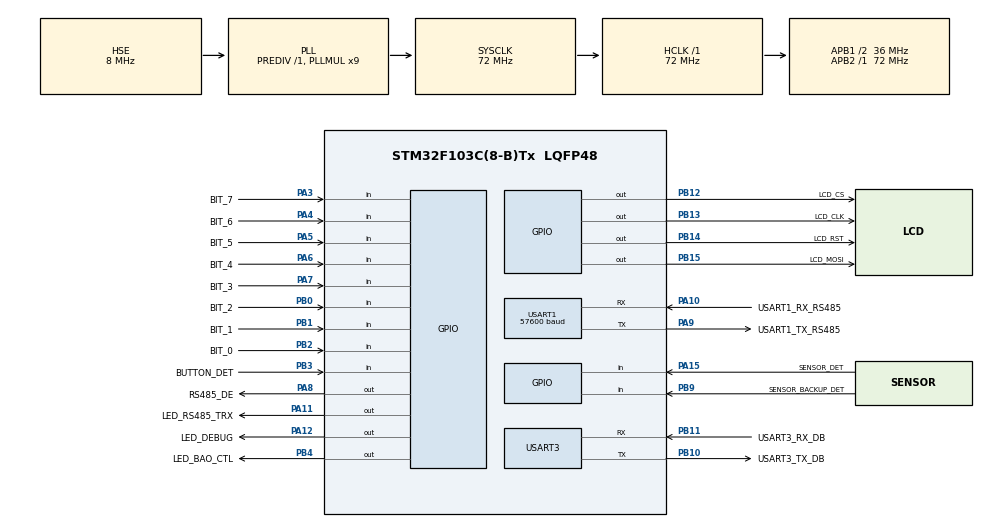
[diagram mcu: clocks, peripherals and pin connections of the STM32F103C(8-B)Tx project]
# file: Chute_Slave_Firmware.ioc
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Dma.Request0=USART3_TX
Dma.USART3_TX.0.Direction=DMA_MEMORY_TO_PERIPH
Dma.USART3_TX.0.Instance=DMA1_Channel2
Dma.USART3_TX.0.MemDataAlignment=DMA_MDATAALIGN_BYTE
Dma.USART3_TX.0.MemInc=DMA_MINC_ENABLE
Dma.USART3_TX.0.Mode=DMA_NORMAL
Dma.USART3_TX.0.PeriphDataAlignment=DMA_PDATAALIGN_BYTE
Dma.USART3_TX.0.PeriphInc=DMA_PINC_DISABLE
Dma.USART3_TX.0.Priority=DMA_PRIORITY_LOW
Mcu.Family=STM32F1
Mcu.Name=STM32F103C(8-B)Tx
Mcu.Package=LQFP48
NVIC.DMA1_Channel2_IRQn=true\:0\:0\:false\:false\:true\:false\:true\:true
NVIC.PriorityGroup=NVIC_PRIORITYGROUP_4
NVIC.TIM1_UP_IRQn=true\:0\:0\:false\:false\:true\:true\:true\:true
NVIC.TIM2_IRQn=true\:0\:0\:false\:false\:true\:true\:true\:true
NVIC.USART1_IRQn=true\:0\:0\:false\:false\:true\:true\:true\:true
NVIC.USART3_IRQn=true\:0\:0\:false\:false\:true\:true\:true\:true
PA10.GPIO_Label=USART1_RX_RS485
PA10.Mode=Asynchronous
PA10.Signal=USART1_RX
PA11.GPIO_Label=LED_RS485_TRX
PA11.GPIO_Speed=GPIO_SPEED_FREQ_MEDIUM
PA11.Signal=GPIO_Output
PA12.GPIO_Label=LED_DEBUG
PA12.Signal=GPIO_Output
PA13.Mode=Serial_Wire
PA13.Signal=SYS_JTMS-SWDIO
PA14.Mode=Serial_Wire
PA14.Signal=SYS_JTCK-SWCLK
PA15.GPIO_Label=SENSOR_DET
PA15.Signal=GPIO_Input
PA3.GPIO_Label=BIT_7
PA3.GPIO_PuPd=GPIO_PULLUP
PA3.Signal=GPIO_Input
PA4.GPIO_Label=BIT_6
PA4.GPIO_PuPd=GPIO_PULLUP
PA4.Signal=GPIO_Input
PA5.GPIO_Label=BIT_5
PA5.GPIO_PuPd=GPIO_PULLUP
PA5.Signal=GPIO_Input
PA6.GPIO_Label=BIT_4
PA6.GPIO_PuPd=GPIO_PULLUP
PA6.Signal=GPIO_Input
PA7.GPIO_Label=BIT_3
PA7.GPIO_PuPd=GPIO_PULLUP
PA7.Signal=GPIO_Input
PA8.GPIO_Label=RS485_DE
PA8.GPIO_Speed=GPIO_SPEED_FREQ_HIGH
PA8.Signal=GPIO_Output
PA9.GPIO_Label=USART1_TX_RS485
PA9.Mode=Asynchronous
PA9.Signal=USART1_TX
PB0.GPIO_Label=BIT_2
PB0.GPIO_PuPd=GPIO_PULLUP
PB0.Signal=GPIO_Input
PB1.GPIO_Label=BIT_1
PB1.GPIO_PuPd=GPIO_PULLUP
PB1.Signal=GPIO_Input
PB10.GPIO_Label=USART3_TX_DB
PB10.Mode=Asynchronous
PB10.Signal=USART3_TX
PB11.GPIO_Label=USART3_RX_DB
PB11.Mode=Asynchronous
PB11.Signal=USART3_RX
PB12.GPIO_Label=LCD_CS
PB12.GPIO_Speed=GPIO_SPEED_FREQ_LOW
PB12.Signal=GPIO_Output
PB13.GPIO_Label=LCD_CLK
PB13.GPIO_Speed=GPIO_SPEED_FREQ_LOW
PB13.Signal=GPIO_Output
PB14.GPIO_Label=LCD_RST
PB14.GPIO_PuPd=GPIO_PULLUP
PB14.GPIO_Speed=GPIO_SPEED_FREQ_LOW
PB14.Signal=GPIO_Output
PB15.GPIO_Label=LCD_MOSI
PB15.GPIO_Speed=GPIO_SPEED_FREQ_LOW
PB15.Signal=GPIO_Output
PB2.GPIO_Label=BIT_0
PB2.GPIO_PuPd=GPIO_PULLUP
PB2.Signal=GPIO_Input
PB3.GPIO_Label=BUTTON_DET
PB3.Signal=GPIO_Input
PB4.GPIO_Label=LED_BAO_CTL
PB4.Signal=GPIO_Output
PB9.GPIO_Label=SENSOR_BACKUP_DET
PB9.Signal=GPIO_Input
PD0-OSC_IN.Mode=HSE-External-Oscillator
PD0-OSC_IN.Signal=RCC_OSC_IN
PD1-OSC_OUT.Mode=HSE-External-Oscillator
PD1-OSC_OUT.Signal=RCC_OSC_OUT
ProjectManager.HeapSize=0x200
ProjectManager.StackSize=0x400
ProjectManager.TargetToolchain=MDK-ARM V5.32
RCC.AHBFreq_Value=72000000
RCC.APB1CLKDivider=RCC_HCLK_DIV2
RCC.APB1Freq_Value=36000000
RCC.APB1TimFreq_Value=72000000
RCC.APB2Freq_Value=72000000
RCC.APB2TimFreq_Value=72000000
RCC.HCLKFreq_Value=72000000
RCC.PLLMUL=RCC_PLL_MUL9
RCC.PLLSourceVirtual=RCC_PLLSOURCE_HSE
RCC.SYSCLKFreq_VALUE=72000000
RCC.SYSCLKSource=RCC_SYSCLKSOURCE_PLLCLK
RCC.USBFreq_Value=72000000
TIM1.AutoReloadPreload=TIM_AUTORELOAD_PRELOAD_ENABLE
TIM1.Period=65535
TIM1.Prescaler=71
TIM2.AutoReloadPreload=TIM_AUTORELOAD_PRELOAD_ENABLE
TIM2.Period=999
TIM2.Prescaler=71
USART1.BaudRate=57600
USART1.VirtualMode=VM_ASYNC
USART3.VirtualMode=VM_ASYNC
VP_TIM1_VS_ClockSourceINT.Mode=Internal
VP_TIM2_VS_ClockSourceINT.Mode=Internal
board=custom

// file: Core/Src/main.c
/* USER CODE BEGIN Header */
/**
  ******************************************************************************
  * @file           : main.c
  * @brief          : Main program body
  ******************************************************************************
  * @attention
  *
  * Copyright (c) 2024 STMicroelectronics.
  * All rights reserved.
  *
  * This software is licensed under terms that can be found in the LICENSE file
  * in the root directory of this software component.
  * If no LICENSE file comes with this software, it is provided AS-IS.
  *
  ******************************************************************************
  */
/* USER CODE END Header */
#include "main.h"

/* USER CODE BEGIN Includes */

	#include <string.h>
	#include <stdio.h>
	#include <stdlib.h>
	#include <stdbool.h>

	#include "st7920.h"
	#include "rs485.h"
	#include "user.h"
	#include "flash_address.h"

/* USER CODE END Includes */

TIM_HandleTypeDef htim1;
TIM_HandleTypeDef htim2;

UART_HandleTypeDef huart1;
UART_HandleTypeDef huart3;
DMA_HandleTypeDef hdma_usart3_tx;

/* USER CODE BEGIN PV */

	uint32_t tick_debug = 0;

/* USER CODE END PV */

void SystemClock_Config(void);
static void MX_GPIO_Init(void);
static void MX_DMA_Init(void);
static void MX_TIM1_Init(void);
static void MX_USART1_UART_Init(void);
static void MX_USART3_UART_Init(void);
static void MX_TIM2_Init(void);

int main(void)
{

  /* MCU Configuration--------------------------------------------------------*/

  /* Reset of all peripherals, Initializes the Flash interface and the Systick. */
  HAL_Init();

  /* Configure the system clock */
  SystemClock_Config();

  /* Initialize all configured peripherals */
  MX_GPIO_Init();
  MX_DMA_Init();
  MX_TIM1_Init();
  MX_USART1_UART_Init();
  MX_USART3_UART_Init();
  MX_TIM2_Init();
  /* USER CODE BEGIN 2 */

		HAL_GPIO_WritePin(LED_DEBUG_GPIO_Port, LED_DEBUG_Pin, GPIO_PIN_SET);
		OFF_DEN_BAO();

		RS485_Init(&vRS485, &huart1);

		/*INit LCD Display*/
		HAL_TIM_Base_Start_IT(&htim1);
		ST7920_Init();

		Calib__mode();

//		ST7920_GraphicMode(1);
//		ST7920_DrawBitmap(viettel_post);
//
//		HAL_Delay(1000);

		ST7920_GraphicMode(0);
		HAL_Delay(1);
		ST7920_Clear();

		/*Get infomation of chute in flash memory*/
		//Flash_Erase(ADDRES_DATA_STORAGE);
		Load_Infor_Chute_Func();

		sprintf(ROW0, "TT KHAI THAC 1");
		ST7920_SendString(0, 0, ROW0);
		sprintf(ROW1, "MACH MANG");
		ST7920_SendString(1, 0, ROW1);
		sprintf(ROW2, "So Thu Tu: %d", vRS485.Sequence_number);
		ST7920_SendString(2, 0, ROW2);
		sprintf(ROW3, "                ");
		ST7920_SendString(3, 0, ROW3);

		Calib__mode();

		HAL_TIM_Base_Start_IT(&htim2);

		HAL_GPIO_WritePin(LED_DEBUG_GPIO_Port, LED_DEBUG_Pin, GPIO_PIN_RESET);
		HAL_GPIO_WritePin(LED_DEBUG_GPIO_Port, LED_DEBUG_Pin, GPIO_PIN_RESET);
		HAL_GPIO_WritePin(LCD_RST_GPIO_Port, LCD_RST_Pin, GPIO_PIN_SET);

  /* USER CODE END 2 */

  /* Infinite loop */
  while (1)
  {

    /* USER CODE BEGIN 3 */

	/*----------------------------------------------------*/
		tick_debug++;

	/*----------------------------------------------------*/
		//Check_Connection_Master();
		HAL_GPIO_WritePin(LCD_RST_GPIO_Port, LCD_RST_Pin, GPIO_PIN_SET);		// Update 18,19 thang 2
	/*----------------------------------------------------*/
		Process_Chute();

	/*----------------------------------------------------*/
		RS485_Transmit(&vRS485);

	/*----------------------------------------------------*/
		Display_LCD(vCycleLCD);

	/*----------------------------------------------------*/
		BlinkLed_Debug();

	/*----------------------------------------------------*/
  }
  /* USER CODE END 3 */
}

void SystemClock_Config(void)
{
  RCC_OscInitTypeDef RCC_OscInitStruct = {0};
  RCC_ClkInitTypeDef RCC_ClkInitStruct = {0};

  /** Initializes the RCC Oscillators according to the specified parameters
  * in the RCC_OscInitTypeDef structure.
  */
  RCC_OscInitStruct.OscillatorType = RCC_OSCILLATORTYPE_HSE;
  RCC_OscInitStruct.HSEState = RCC_HSE_ON;
  RCC_OscInitStruct.HSEPredivValue = RCC_HSE_PREDIV_DIV1;
  RCC_OscInitStruct.HSIState = RCC_HSI_ON;
  RCC_OscInitStruct.PLL.PLLState = RCC_PLL_ON;
  RCC_OscInitStruct.PLL.PLLSource = RCC_PLLSOURCE_HSE;
  RCC_OscInitStruct.PLL.PLLMUL = RCC_PLL_MUL9;
  if (HAL_RCC_OscConfig(&RCC_OscInitStruct) != HAL_OK)
  {
    Error_Handler();
  }

  /** Initializes the CPU, AHB and APB buses clocks
  */
  RCC_ClkInitStruct.ClockType = RCC_CLOCKTYPE_HCLK|RCC_CLOCKTYPE_SYSCLK
                              |RCC_CLOCKTYPE_PCLK1|RCC_CLOCKTYPE_PCLK2;
  RCC_ClkInitStruct.SYSCLKSource = RCC_SYSCLKSOURCE_PLLCLK;
  RCC_ClkInitStruct.AHBCLKDivider = RCC_SYSCLK_DIV1;
  RCC_ClkInitStruct.APB1CLKDivider = RCC_HCLK_DIV2;
  RCC_ClkInitStruct.APB2CLKDivider = RCC_HCLK_DIV1;

  if (HAL_RCC_ClockConfig(&RCC_ClkInitStruct, FLASH_LATENCY_2) != HAL_OK)
  {
    Error_Handler();
  }
}

static void MX_TIM1_Init(void)
{

  TIM_ClockConfigTypeDef sClockSourceConfig = {0};
  TIM_MasterConfigTypeDef sMasterConfig = {0};

  htim1.Instance = TIM1;
  htim1.Init.Prescaler = 71;
  htim1.Init.CounterMode = TIM_COUNTERMODE_UP;
  htim1.Init.Period = 65535;
  htim1.Init.ClockDivision = TIM_CLOCKDIVISION_DIV1;
  htim1.Init.RepetitionCounter = 0;
  htim1.Init.AutoReloadPreload = TIM_AUTORELOAD_PRELOAD_ENABLE;
  if (HAL_TIM_Base_Init(&htim1) != HAL_OK)
  {
    Error_Handler();
  }
  sClockSourceConfig.ClockSource = TIM_CLOCKSOURCE_INTERNAL;
  if (HAL_TIM_ConfigClockSource(&htim1, &sClockSourceConfig) != HAL_OK)
  {
    Error_Handler();
  }
  sMasterConfig.MasterOutputTrigger = TIM_TRGO_RESET;
  sMasterConfig.MasterSlaveMode = TIM_MASTERSLAVEMODE_DISABLE;
  if (HAL_TIMEx_MasterConfigSynchronization(&htim1, &sMasterConfig) != HAL_OK)
  {
    Error_Handler();
  }

}

static void MX_TIM2_Init(void)
{

  TIM_ClockConfigTypeDef sClockSourceConfig = {0};
  TIM_MasterConfigTypeDef sMasterConfig = {0};

  htim2.Instance = TIM2;
  htim2.Init.Prescaler = 71;
  htim2.Init.CounterMode = TIM_COUNTERMODE_UP;
  htim2.Init.Period = 999;
  htim2.Init.ClockDivision = TIM_CLOCKDIVISION_DIV1;
  htim2.Init.AutoReloadPreload = TIM_AUTORELOAD_PRELOAD_ENABLE;
  if (HAL_TIM_Base_Init(&htim2) != HAL_OK)
  {
    Error_Handler();
  }
  sClockSourceConfig.ClockSource = TIM_CLOCKSOURCE_INTERNAL;
  if (HAL_TIM_ConfigClockSource(&htim2, &sClockSourceConfig) != HAL_OK)
  {
    Error_Handler();
  }
  sMasterConfig.MasterOutputTrigger = TIM_TRGO_RESET;
  sMasterConfig.MasterSlaveMode = TIM_MASTERSLAVEMODE_DISABLE;
  if (HAL_TIMEx_MasterConfigSynchronization(&htim2, &sMasterConfig) != HAL_OK)
  {
    Error_Handler();
  }

}

static void MX_USART1_UART_Init(void)
{

  huart1.Instance = USART1;
  huart1.Init.BaudRate = 57600;
  huart1.Init.WordLength = UART_WORDLENGTH_8B;
  huart1.Init.StopBits = UART_STOPBITS_1;
  huart1.Init.Parity = UART_PARITY_NONE;
  huart1.Init.Mode = UART_MODE_TX_RX;
  huart1.Init.HwFlowCtl = UART_HWCONTROL_NONE;
  huart1.Init.OverSampling = UART_OVERSAMPLING_16;
  if (HAL_UART_Init(&huart1) != HAL_OK)
  {
    Error_Handler();
  }

}

static void MX_USART3_UART_Init(void)
{

  huart3.Instance = USART3;
  huart3.Init.BaudRate = 115200;
  huart3.Init.WordLength = UART_WORDLENGTH_8B;
  huart3.Init.StopBits = UART_STOPBITS_1;
  huart3.Init.Parity = UART_PARITY_NONE;
  huart3.Init.Mode = UART_MODE_TX_RX;
  huart3.Init.HwFlowCtl = UART_HWCONTROL_NONE;
  huart3.Init.OverSampling = UART_OVERSAMPLING_16;
  if (HAL_UART_Init(&huart3) != HAL_OK)
  {
    Error_Handler();
  }

}

static void MX_DMA_Init(void)
{

  /* DMA controller clock enable */
  __HAL_RCC_DMA1_CLK_ENABLE();

  /* DMA interrupt init */
  /* DMA1_Channel2_IRQn interrupt configuration */
  HAL_NVIC_SetPriority(DMA1_Channel2_IRQn, 0, 0);
  HAL_NVIC_EnableIRQ(DMA1_Channel2_IRQn);

}

static void MX_GPIO_Init(void)
{
  GPIO_InitTypeDef GPIO_InitStruct = {0};

  /* GPIO Ports Clock Enable */
  __HAL_RCC_GPIOD_CLK_ENABLE();
  __HAL_RCC_GPIOA_CLK_ENABLE();
  __HAL_RCC_GPIOB_CLK_ENABLE();

  /*Configure GPIO pin Output Level */
  HAL_GPIO_WritePin(GPIOB, LCD_CS_Pin|LCD_CLK_Pin|LCD_RST_Pin|LCD_MOSI_Pin
                          |LED_BAO_CTL_Pin, GPIO_PIN_RESET);

  /*Configure GPIO pin Output Level */
  HAL_GPIO_WritePin(GPIOA, RS485_DE_Pin|LED_RS485_TRX_Pin|LED_DEBUG_Pin, GPIO_PIN_RESET);

  /*Configure GPIO pins : BIT_7_Pin BIT_6_Pin BIT_5_Pin BIT_4_Pin
                           BIT_3_Pin */
  GPIO_InitStruct.Pin = BIT_7_Pin|BIT_6_Pin|BIT_5_Pin|BIT_4_Pin
                          |BIT_3_Pin;
  GPIO_InitStruct.Mode = GPIO_MODE_INPUT;
  GPIO_InitStruct.Pull = GPIO_PULLUP;
  HAL_GPIO_Init(GPIOA, &GPIO_InitStruct);

  /*Configure GPIO pins : BIT_2_Pin BIT_1_Pin BIT_0_Pin */
  GPIO_InitStruct.Pin = BIT_2_Pin|BIT_1_Pin|BIT_0_Pin;
  GPIO_InitStruct.Mode = GPIO_MODE_INPUT;
  GPIO_InitStruct.Pull = GPIO_PULLUP;
  HAL_GPIO_Init(GPIOB, &GPIO_InitStruct);

  /*Configure GPIO pins : LCD_CS_Pin LCD_CLK_Pin LCD_MOSI_Pin LED_BAO_CTL_Pin */
  GPIO_InitStruct.Pin = LCD_CS_Pin|LCD_CLK_Pin|LCD_MOSI_Pin|LED_BAO_CTL_Pin;
  GPIO_InitStruct.Mode = GPIO_MODE_OUTPUT_PP;
  GPIO_InitStruct.Pull = GPIO_NOPULL;
  GPIO_InitStruct.Speed = GPIO_SPEED_FREQ_LOW;
  HAL_GPIO_Init(GPIOB, &GPIO_InitStruct);

  /*Configure GPIO pin : LCD_RST_Pin */
  GPIO_InitStruct.Pin = LCD_RST_Pin;
  GPIO_InitStruct.Mode = GPIO_MODE_OUTPUT_PP;
  GPIO_InitStruct.Pull = GPIO_PULLUP;
  GPIO_InitStruct.Speed = GPIO_SPEED_FREQ_LOW;
  HAL_GPIO_Init(LCD_RST_GPIO_Port, &GPIO_InitStruct);

  /*Configure GPIO pin : RS485_DE_Pin */
  GPIO_InitStruct.Pin = RS485_DE_Pin;
  GPIO_InitStruct.Mode = GPIO_MODE_OUTPUT_PP;
  GPIO_InitStruct.Pull = GPIO_NOPULL;
  GPIO_InitStruct.Speed = GPIO_SPEED_FREQ_HIGH;
  HAL_GPIO_Init(RS485_DE_GPIO_Port, &GPIO_InitStruct);

  /*Configure GPIO pin : LED_RS485_TRX_Pin */
  GPIO_InitStruct.Pin = LED_RS485_TRX_Pin;
  GPIO_InitStruct.Mode = GPIO_MODE_OUTPUT_PP;
  GPIO_InitStruct.Pull = GPIO_NOPULL;
  GPIO_InitStruct.Speed = GPIO_SPEED_FREQ_MEDIUM;
  HAL_GPIO_Init(LED_RS485_TRX_GPIO_Port, &GPIO_InitStruct);

  /*Configure GPIO pin : LED_DEBUG_Pin */
  GPIO_InitStruct.Pin = LED_DEBUG_Pin;
  GPIO_InitStruct.Mode = GPIO_MODE_OUTPUT_PP;
  GPIO_InitStruct.Pull = GPIO_NOPULL;
  GPIO_InitStruct.Speed = GPIO_SPEED_FREQ_LOW;
  HAL_GPIO_Init(LED_DEBUG_GPIO_Port, &GPIO_InitStruct);

  /*Configure GPIO pin : SENSOR_DET_Pin */
  GPIO_InitStruct.Pin = SENSOR_DET_Pin;
  GPIO_InitStruct.Mode = GPIO_MODE_INPUT;
  GPIO_InitStruct.Pull = GPIO_NOPULL;
  HAL_GPIO_Init(SENSOR_DET_GPIO_Port, &GPIO_InitStruct);

  /*Configure GPIO pins : BUTTON_DET_Pin SENSOR_BACKUP_DET_Pin */
  GPIO_InitStruct.Pin = BUTTON_DET_Pin|SENSOR_BACKUP_DET_Pin;
  GPIO_InitStruct.Mode = GPIO_MODE_INPUT;
  GPIO_InitStruct.Pull = GPIO_NOPULL;
  HAL_GPIO_Init(GPIOB, &GPIO_InitStruct);

}

void Error_Handler(void)
{
  __disable_irq();
  while (1)
  {
  }
}
